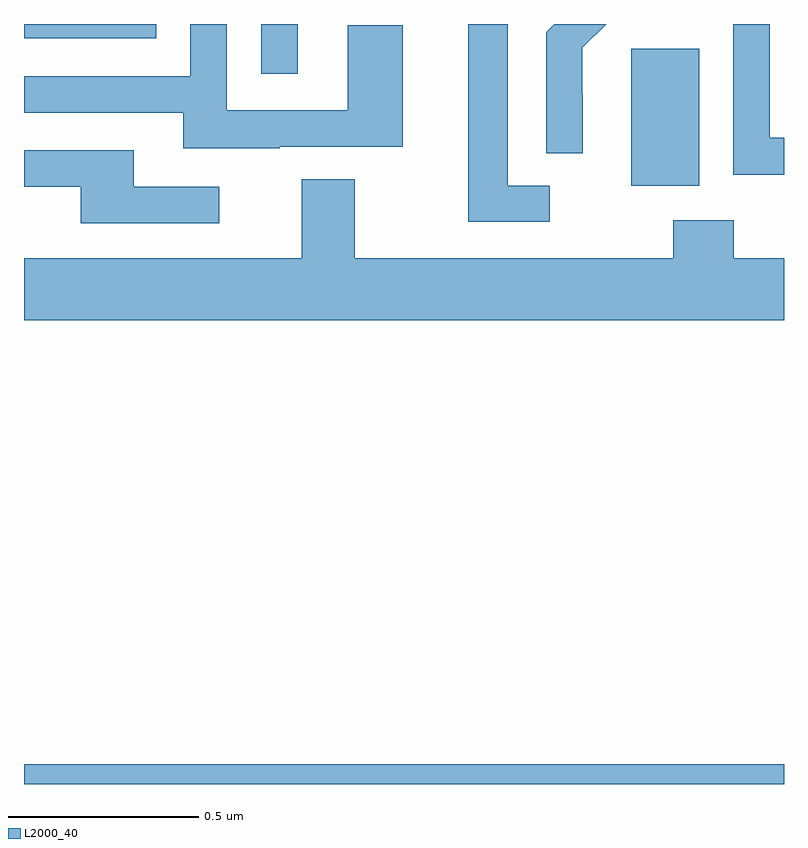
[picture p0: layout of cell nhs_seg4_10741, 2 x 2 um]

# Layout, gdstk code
import gdstk
lib = gdstk.Library(unit=1e-6, precision=1e-09)
def R(c, l, rs):  # rectangles x0, y0, x1, y1
    for r in rs: c.add(gdstk.rectangle(r[:2], r[2:], *l))
def P(c, l, *ps):  # polygons
    for p in ps: c.add(gdstk.Polygon(p, *l))
L2000_40 = (2000, 40)

nhs_seg4_10741 = lib.new_cell('nhs_seg4_10741')
R(nhs_seg4_10741, L2000_40, [(243,828.9,245,828.952), (244.598,830.474,244.777,830.835), (243.624,830.769,243.721,830.9), (243,830.862,243.348,830.9)])
P(nhs_seg4_10741, L2000_40, [(244.47,830.714),(244.469,830.714),(244.469,830.837),(244.532,830.9),(244.396,830.9),(244.374,830.878),(244.374,830.56),(244.47,830.56)],
  [(245,830.601),(244.962,830.601),(244.962,830.9),(244.866,830.9),(244.866,830.503),(245,830.503)],
  [(244.384,830.475),(244.273,830.475),(244.273,830.9),(244.169,830.9),(244.169,830.379),(244.384,830.379)],
  [(243.673,830.577),(243.997,830.577),(243.997,830.897),(243.852,830.897),(243.852,830.673),(243.534,830.673),(243.534,830.9),(243.438,830.9),(243.438,830.763),(243,830.763),(243,830.667),(243.419,830.667),(243.419,830.573),(243.673,830.573)],
  [(243.514,830.472),(243.289,830.472),(243.289,830.568),(243,830.568),(243,830.472),(243.149,830.472),(243.149,830.376),(243.514,830.376)],
  [(245,830.284),(244.868,830.284),(244.868,830.383),(244.708,830.383),(244.708,830.284),(243.871,830.284),(243.871,830.492),(243.731,830.492),(243.731,830.284),(243,830.284),(243,830.12),(245,830.12)])

lib.write_gds('nhs_seg4_10741.gds')
